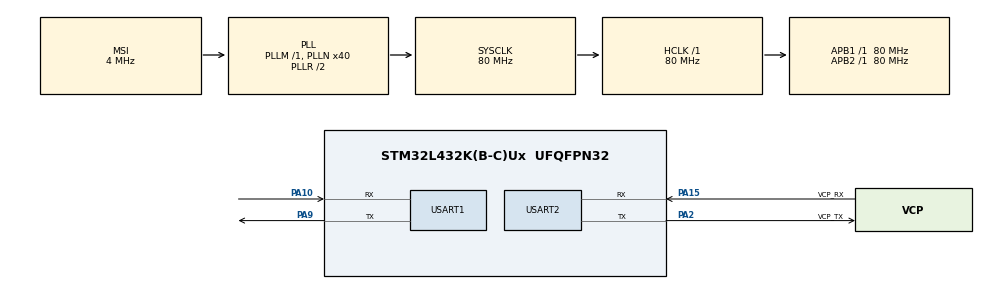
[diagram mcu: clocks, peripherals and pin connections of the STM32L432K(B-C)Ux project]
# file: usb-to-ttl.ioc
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Dma.Request0=USART1_RX
Dma.USART1_RX.0.Direction=DMA_PERIPH_TO_MEMORY
Dma.USART1_RX.0.Instance=DMA1_Channel5
Dma.USART1_RX.0.MemDataAlignment=DMA_MDATAALIGN_BYTE
Dma.USART1_RX.0.MemInc=DMA_MINC_ENABLE
Dma.USART1_RX.0.Mode=DMA_CIRCULAR
Dma.USART1_RX.0.PeriphDataAlignment=DMA_PDATAALIGN_BYTE
Dma.USART1_RX.0.PeriphInc=DMA_PINC_DISABLE
Dma.USART1_RX.0.Priority=DMA_PRIORITY_LOW
Mcu.Family=STM32L4
Mcu.Name=STM32L432K(B-C)Ux
Mcu.Package=UFQFPN32
NVIC.DMA1_Channel5_IRQn=true\:0\:0\:false\:false\:true\:false\:true\:true
NVIC.PriorityGroup=NVIC_PRIORITYGROUP_4
NVIC.USART2_IRQn=true\:0\:0\:false\:false\:true\:true\:true\:true
PA10.Mode=Asynchronous
PA10.Signal=USART1_RX
PA13\ (JTMS-SWDIO).GPIO_Label=SWDIO
PA13\ (JTMS-SWDIO).Mode=Serial_Wire
PA13\ (JTMS-SWDIO).Signal=SYS_JTMS-SWDIO
PA14\ (JTCK-SWCLK).GPIO_Label=SWCLK
PA14\ (JTCK-SWCLK).Mode=Serial_Wire
PA14\ (JTCK-SWCLK).Signal=SYS_JTCK-SWCLK
PA15\ (JTDI).GPIO_Label=VCP_RX
PA15\ (JTDI).Mode=Asynchronous
PA15\ (JTDI).Signal=USART2_RX
PA2.GPIO_Label=VCP_TX
PA2.Mode=Asynchronous
PA2.Signal=USART2_TX
PA9.Mode=Asynchronous
PA9.Signal=USART1_TX
ProjectManager.HeapSize=0x200
ProjectManager.StackSize=0x400
ProjectManager.TargetToolchain=CMake
RCC.AHBFreq_Value=80000000
RCC.APB1Freq_Value=80000000
RCC.APB1TimFreq_Value=80000000
RCC.APB2Freq_Value=80000000
RCC.APB2TimFreq_Value=80000000
RCC.CortexFreq_Value=80000000
RCC.HCLKFreq_Value=80000000
RCC.HSE_VALUE=8000000
RCC.HSI16_VALUE=16000000
RCC.HSI48_VALUE=48000000
RCC.HSI_VALUE=16000000
RCC.LSE_VALUE=32768
RCC.MSI_VALUE=4000000
RCC.PLLMUL=RCC_PLLMUL_4
RCC.PLLN=40
RCC.SYSCLKFreq_VALUE=80000000
RCC.SYSCLKSource=RCC_SYSCLKSOURCE_PLLCLK
RCC.VCOOutputFreq_Value=160000000
USART1.VirtualMode-Asynchronous=VM_ASYNC
USART2.VirtualMode-Asynchronous=VM_ASYNC
board=NUCLEO-L432KC

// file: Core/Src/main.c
/* USER CODE BEGIN Header */
/**
  ******************************************************************************
  * @file           : main.c
  * @brief          : Main program body
  ******************************************************************************
  * @attention
  *
  * Copyright (c) 2026 STMicroelectronics.
  * All rights reserved.
  *
  * This software is licensed under terms that can be found in the LICENSE file
  * in the root directory of this software component.
  * If no LICENSE file comes with this software, it is provided AS-IS.
  *
  ******************************************************************************
  */
/* USER CODE END Header */
#include "main.h"

/* USER CODE BEGIN PD */
#define RX_BUF_SIZE 10
#define SW_BUF_SIZE 64
/* USER CODE END PD */

/* USER CODE BEGIN PM */
#define PUTCHAR_PROTOTYPE int __io_putchar(int ch)
/* USER CODE END PM */

UART_HandleTypeDef huart1;
UART_HandleTypeDef huart2;
DMA_HandleTypeDef hdma_usart1_rx;

/* USER CODE BEGIN PV */
uint8_t rx2;
volatile uint8_t rx2_ready = 0;
uint8_t Rx_Buffer[RX_BUF_SIZE];
uint8_t swBuf[SW_BUF_SIZE];
volatile uint16_t swHead = 0;
static uint16_t lastPos = 0;
/* USER CODE END PV */

void SystemClock_Config(void);
static void MX_GPIO_Init(void);
static void MX_DMA_Init(void);
static void MX_USART2_UART_Init(void);
static void MX_USART1_UART_Init(void);
/* USER CODE BEGIN PFP */
void CopyToSoftwareBuffer(uint8_t *data, uint16_t len);
/* USER CODE END PFP */

/* USER CODE BEGIN 0 */
PUTCHAR_PROTOTYPE
{
  HAL_UART_Transmit(&huart2, (uint8_t*) &ch, 1, 0xFFFF);
  return ch;
}
void HAL_UART_RxHalfCpltCallback(UART_HandleTypeDef *huart)
{
  if (huart == &huart1) CopyToSoftwareBuffer(&Rx_Buffer[0], RX_BUF_SIZE / 2);
}
void HAL_UART_RxCpltCallback(UART_HandleTypeDef *huart)
{
  if (huart == &huart1) CopyToSoftwareBuffer(&Rx_Buffer[RX_BUF_SIZE / 2], RX_BUF_SIZE / 2);
  if (huart == &huart2)
  {
    HAL_UART_Receive_IT(&huart2, &rx2, 1);
    rx2_ready = 1;
  }
}
void CopyToSoftwareBuffer(uint8_t *data, uint16_t len)
{
  for (uint16_t i = 0; i < len; i++)
  {
    swBuf[swHead++] = data[i];
    if (swHead >= SW_BUF_SIZE) swHead = 0;
  }
}
void ProcessChar(UART_HandleTypeDef *huart, char c)
{
  if (huart == &huart1)
  {
    HAL_UART_Transmit(&huart2, (const uint8_t*)&c, sizeof(c), 1);
  }
  if (huart == &huart2)
  {
    HAL_UART_Transmit(&huart1, (const uint8_t*)&c, sizeof(c), 1);
  }
}
/* USER CODE END 0 */

int main(void)
{

  /* MCU Configuration--------------------------------------------------------*/

  /* Reset of all peripherals, Initializes the Flash interface and the Systick. */
  HAL_Init();

  /* Configure the system clock */
  SystemClock_Config();

  /* Initialize all configured peripherals */
  MX_GPIO_Init();
  MX_DMA_Init();
  MX_USART2_UART_Init();
  MX_USART1_UART_Init();
  /* USER CODE BEGIN 2 */
  HAL_UART_Receive_DMA(&huart1, Rx_Buffer, RX_BUF_SIZE);
  HAL_UART_Receive_IT(&huart2, &rx2, 1);
  /* USER CODE END 2 */

  /* Infinite loop */
  /* USER CODE BEGIN WHILE */
  while (1)
  {
    while (lastPos != swHead)
    {
      char c = swBuf[lastPos++];
      if (lastPos >= SW_BUF_SIZE) lastPos = 0;
      ProcessChar(&huart1, c);
    }
    if (rx2_ready)
    {
      ProcessChar(&huart2, rx2);
      rx2_ready = 0;
    }
/* USER CODE END WHILE */

  }
}

void SystemClock_Config(void)
{
  RCC_OscInitTypeDef RCC_OscInitStruct = {0};
  RCC_ClkInitTypeDef RCC_ClkInitStruct = {0};

  /** Configure the main internal regulator output voltage
  */
  if (HAL_PWREx_ControlVoltageScaling(PWR_REGULATOR_VOLTAGE_SCALE1) != HAL_OK)
  {
    Error_Handler();
  }

  /** Initializes the RCC Oscillators according to the specified parameters
  * in the RCC_OscInitTypeDef structure.
  */
  RCC_OscInitStruct.OscillatorType = RCC_OSCILLATORTYPE_MSI;
  RCC_OscInitStruct.MSIState = RCC_MSI_ON;
  RCC_OscInitStruct.MSICalibrationValue = 0;
  RCC_OscInitStruct.MSIClockRange = RCC_MSIRANGE_6;
  RCC_OscInitStruct.PLL.PLLState = RCC_PLL_ON;
  RCC_OscInitStruct.PLL.PLLSource = RCC_PLLSOURCE_MSI;
  RCC_OscInitStruct.PLL.PLLM = 1;
  RCC_OscInitStruct.PLL.PLLN = 40;
  RCC_OscInitStruct.PLL.PLLP = RCC_PLLP_DIV7;
  RCC_OscInitStruct.PLL.PLLQ = RCC_PLLQ_DIV2;
  RCC_OscInitStruct.PLL.PLLR = RCC_PLLR_DIV2;
  if (HAL_RCC_OscConfig(&RCC_OscInitStruct) != HAL_OK)
  {
    Error_Handler();
  }

  /** Initializes the CPU, AHB and APB buses clocks
  */
  RCC_ClkInitStruct.ClockType = RCC_CLOCKTYPE_HCLK|RCC_CLOCKTYPE_SYSCLK
                              |RCC_CLOCKTYPE_PCLK1|RCC_CLOCKTYPE_PCLK2;
  RCC_ClkInitStruct.SYSCLKSource = RCC_SYSCLKSOURCE_PLLCLK;
  RCC_ClkInitStruct.AHBCLKDivider = RCC_SYSCLK_DIV1;
  RCC_ClkInitStruct.APB1CLKDivider = RCC_HCLK_DIV1;
  RCC_ClkInitStruct.APB2CLKDivider = RCC_HCLK_DIV1;

  if (HAL_RCC_ClockConfig(&RCC_ClkInitStruct, FLASH_LATENCY_4) != HAL_OK)
  {
    Error_Handler();
  }
}

static void MX_USART1_UART_Init(void)
{

  huart1.Instance = USART1;
  huart1.Init.BaudRate = 115200;
  huart1.Init.WordLength = UART_WORDLENGTH_8B;
  huart1.Init.StopBits = UART_STOPBITS_1;
  huart1.Init.Parity = UART_PARITY_NONE;
  huart1.Init.Mode = UART_MODE_TX_RX;
  huart1.Init.HwFlowCtl = UART_HWCONTROL_NONE;
  huart1.Init.OverSampling = UART_OVERSAMPLING_16;
  huart1.Init.OneBitSampling = UART_ONE_BIT_SAMPLE_DISABLE;
  huart1.AdvancedInit.AdvFeatureInit = UART_ADVFEATURE_NO_INIT;
  if (HAL_UART_Init(&huart1) != HAL_OK)
  {
    Error_Handler();
  }

}

static void MX_USART2_UART_Init(void)
{

  huart2.Instance = USART2;
  huart2.Init.BaudRate = 115200;
  huart2.Init.WordLength = UART_WORDLENGTH_8B;
  huart2.Init.StopBits = UART_STOPBITS_1;
  huart2.Init.Parity = UART_PARITY_NONE;
  huart2.Init.Mode = UART_MODE_TX_RX;
  huart2.Init.HwFlowCtl = UART_HWCONTROL_NONE;
  huart2.Init.OverSampling = UART_OVERSAMPLING_16;
  huart2.Init.OneBitSampling = UART_ONE_BIT_SAMPLE_DISABLE;
  huart2.AdvancedInit.AdvFeatureInit = UART_ADVFEATURE_NO_INIT;
  if (HAL_UART_Init(&huart2) != HAL_OK)
  {
    Error_Handler();
  }

}

static void MX_DMA_Init(void)
{

  /* DMA controller clock enable */
  __HAL_RCC_DMA1_CLK_ENABLE();

  /* DMA interrupt init */
  /* DMA1_Channel5_IRQn interrupt configuration */
  HAL_NVIC_SetPriority(DMA1_Channel5_IRQn, 0, 0);
  HAL_NVIC_EnableIRQ(DMA1_Channel5_IRQn);

}

static void MX_GPIO_Init(void)
{
  GPIO_InitTypeDef GPIO_InitStruct = {0};

  /* GPIO Ports Clock Enable */
  __HAL_RCC_GPIOC_CLK_ENABLE();
  __HAL_RCC_GPIOA_CLK_ENABLE();
  __HAL_RCC_GPIOB_CLK_ENABLE();
  __HAL_RCC_GPIOH_CLK_ENABLE();

  /*Configure GPIO pins : PC14 PC15 */
  GPIO_InitStruct.Pin = GPIO_PIN_14|GPIO_PIN_15;
  GPIO_InitStruct.Mode = GPIO_MODE_ANALOG;
  GPIO_InitStruct.Pull = GPIO_NOPULL;
  HAL_GPIO_Init(GPIOC, &GPIO_InitStruct);

  /*Configure GPIO pins : PA0 PA1 PA3 PA4
                           PA5 PA6 PA7 PA8
                           PA11 PA12 */
  GPIO_InitStruct.Pin = GPIO_PIN_0|GPIO_PIN_1|GPIO_PIN_3|GPIO_PIN_4
                          |GPIO_PIN_5|GPIO_PIN_6|GPIO_PIN_7|GPIO_PIN_8
                          |GPIO_PIN_11|GPIO_PIN_12;
  GPIO_InitStruct.Mode = GPIO_MODE_ANALOG;
  GPIO_InitStruct.Pull = GPIO_NOPULL;
  HAL_GPIO_Init(GPIOA, &GPIO_InitStruct);

  /*Configure GPIO pins : PB0 PB1 PB3 PB4
                           PB5 PB6 PB7 */
  GPIO_InitStruct.Pin = GPIO_PIN_0|GPIO_PIN_1|GPIO_PIN_3|GPIO_PIN_4
                          |GPIO_PIN_5|GPIO_PIN_6|GPIO_PIN_7;
  GPIO_InitStruct.Mode = GPIO_MODE_ANALOG;
  GPIO_InitStruct.Pull = GPIO_NOPULL;
  HAL_GPIO_Init(GPIOB, &GPIO_InitStruct);

  /*Configure GPIO pin : PH3 */
  GPIO_InitStruct.Pin = GPIO_PIN_3;
  GPIO_InitStruct.Mode = GPIO_MODE_ANALOG;
  GPIO_InitStruct.Pull = GPIO_NOPULL;
  HAL_GPIO_Init(GPIOH, &GPIO_InitStruct);

}

void Error_Handler(void)
{
  __disable_irq();
  while (1)
  {
  }
}
